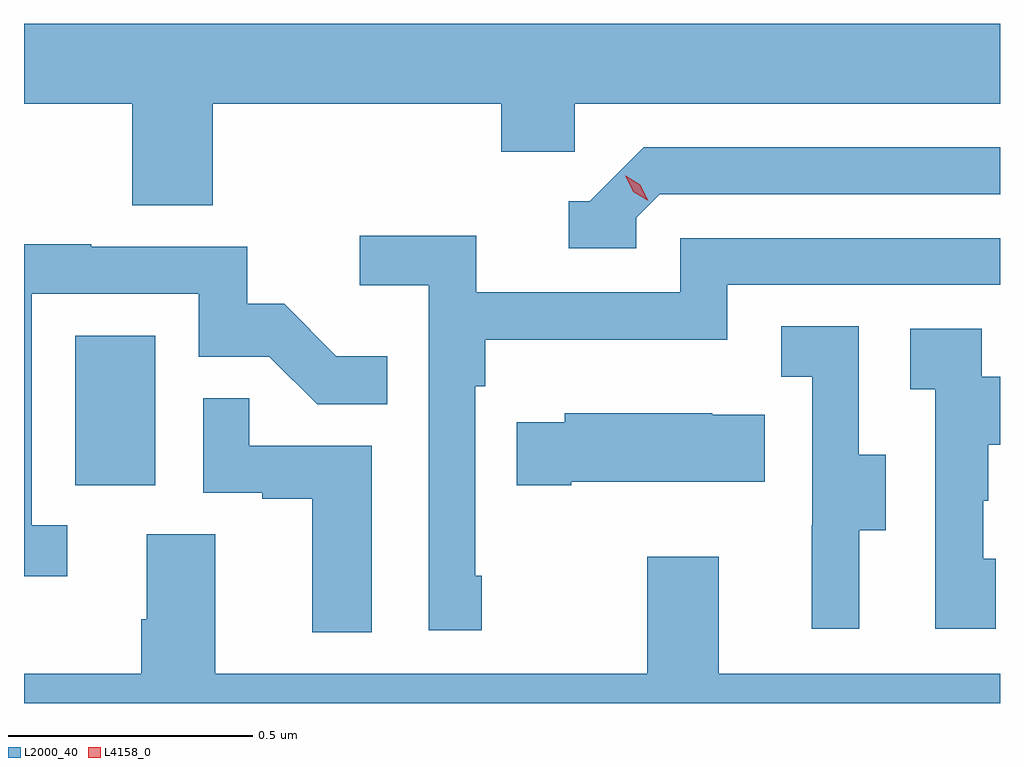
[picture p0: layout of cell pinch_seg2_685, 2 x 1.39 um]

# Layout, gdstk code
import gdstk
lib = gdstk.Library(unit=1e-6, precision=1e-09)
def R(c, l, rs):  # rectangles x0, y0, x1, y1
    for r in rs: c.add(gdstk.rectangle(r[:2], r[2:], *l))
def P(c, l, *ps):  # polygons
    for p in ps: c.add(gdstk.Polygon(p, *l))
L2000_40 = (2000, 40)
L4158_0 = (4158, 0)

pinch_seg2_685 = lib.new_cell('pinch_seg2_685')
R(pinch_seg2_685, L2000_40, [(1031.342,598.902,1031.506,599.209)])
P(pinch_seg2_685, L2000_40, [(1031.624,599.684),(1032.215,599.684),(1032.215,599.586),(1032.366,599.586),(1032.366,599.684),(1033.237,599.684),(1033.237,599.848),(1031.237,599.848),(1031.237,599.684),(1031.459,599.684),(1031.459,599.476),(1031.624,599.476)],
  [(1032.492,599.451),(1032.54,599.499),(1033.237,599.499),(1033.237,599.595),(1032.507,599.595),(1032.396,599.484),(1032.353,599.484),(1032.353,599.388),(1032.492,599.388)],
  [(1032.175,598.717),(1032.162,598.717),(1032.162,599.105),(1032.182,599.105),(1032.182,599.201),(1032.678,599.201),(1032.678,599.313),(1033.237,599.313),(1033.237,599.409),(1032.582,599.409),(1032.582,599.298),(1032.164,599.298),(1032.164,599.414),(1031.925,599.414),(1031.925,599.312),(1032.066,599.312),(1032.066,598.605),(1032.175,598.605)],
  [(1031.326,598.821),(1031.253,598.821),(1031.253,599.295),(1031.595,599.295),(1031.595,599.166),(1031.74,599.166),(1031.838,599.068),(1031.981,599.068),(1031.981,599.167),(1031.877,599.167),(1031.77,599.274),(1031.694,599.274),(1031.694,599.391),(1031.375,599.391),(1031.375,599.396),(1031.237,599.396),(1031.237,598.716),(1031.326,598.716)],
  [(1032.949,598.81),(1033.003,598.81),(1033.003,598.965),(1032.948,598.965),(1032.948,599.228),(1032.789,599.228),(1032.789,599.125),(1032.852,599.125),(1032.852,598.821),(1032.851,598.821),(1032.851,598.608),(1032.949,598.608)],
  [(1033.228,598.752),(1033.203,598.752),(1033.203,598.871),(1033.213,598.871),(1033.213,598.985),(1033.237,598.985),(1033.237,599.125),(1033.2,599.125),(1033.2,599.223),(1033.053,599.223),(1033.053,599.099),(1033.104,599.099),(1033.104,598.608),(1033.228,598.608)],
  [(1031.95,598.983),(1031.699,598.983),(1031.699,599.081),(1031.604,599.081),(1031.604,598.887),(1031.725,598.887),(1031.725,598.875),(1031.828,598.875),(1031.828,598.601),(1031.95,598.601)],
  [(1032.358,598.91),(1032.755,598.91),(1032.755,599.047),(1032.647,599.047),(1032.647,599.05),(1032.345,599.05),(1032.345,599.032),(1032.247,599.032),(1032.247,598.903),(1032.358,598.903)],
  [(1031.237,598.456),(1033.237,598.456),(1033.237,598.516),(1032.661,598.516),(1032.661,598.756),(1032.514,598.756),(1032.514,598.516),(1031.629,598.516),(1031.629,598.802),(1031.489,598.802),(1031.489,598.628),(1031.477,598.628),(1031.477,598.516),(1031.237,598.516)])
P(pinch_seg2_685, L4158_0, [(1032.516,599.485),(1032.485,599.504),(1032.469,599.537),(1032.469,599.537),(1032.47,599.537),(1032.5,599.518),(1032.516,599.485),(1032.516,599.485)])

lib.write_gds('pinch_seg2_685.gds')
